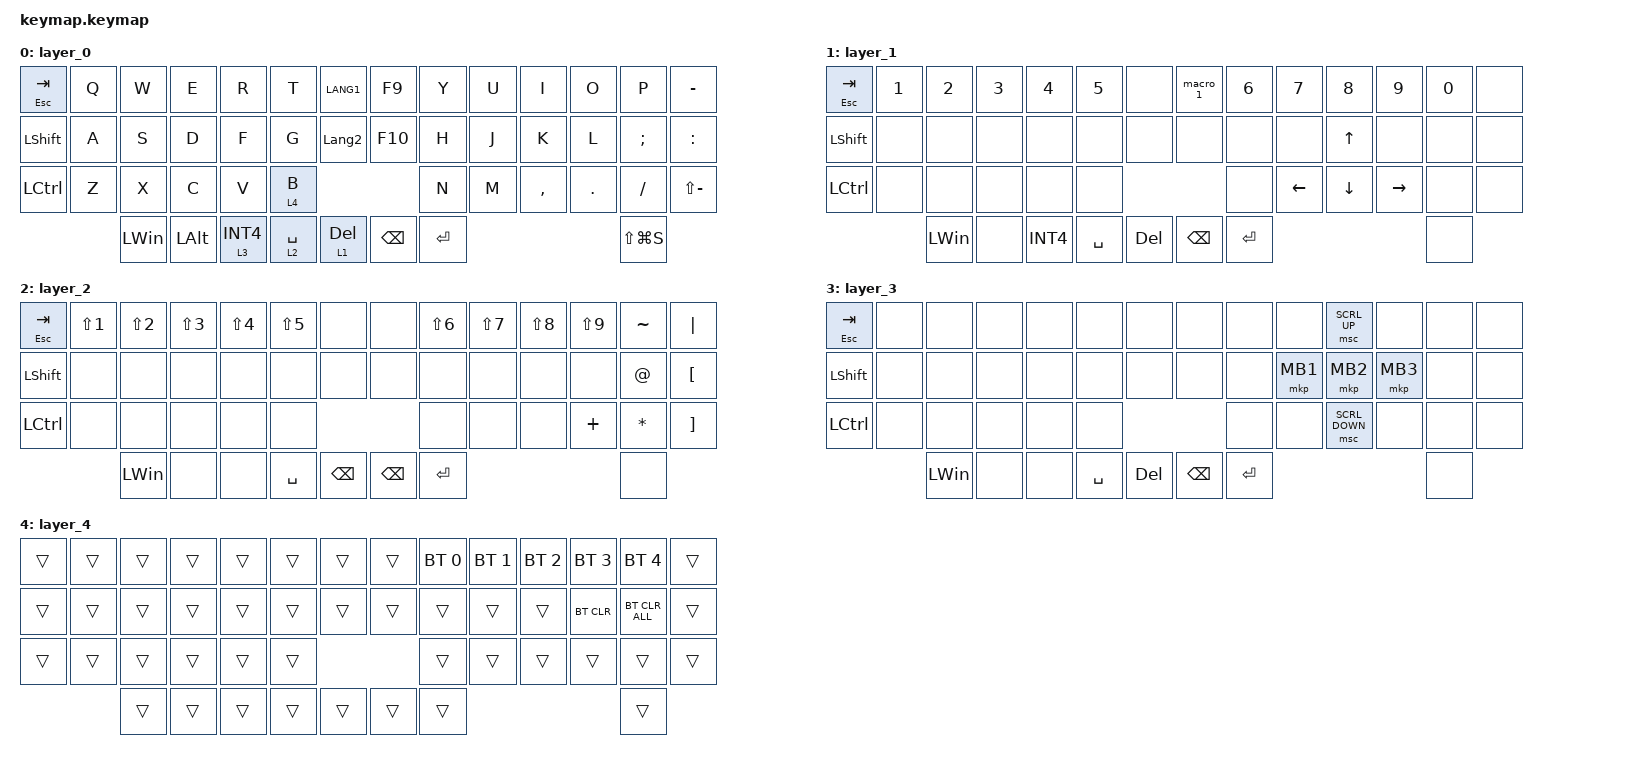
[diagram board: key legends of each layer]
#include <behaviors.dtsi>
#include <dt-bindings/zmk/bt.h>
#include <dt-bindings/zmk/keys.h>
#include <dt-bindings/zmk/pointing.h>

/ {
    macros {
        macro_1: macro_1 {
            compatible = "zmk,behavior-macro";
            #binding-cells = <0>;
            bindings = <&none &kp LS(S) &kp A &kp N &kp N5 &kp K &kp U &kp N4 &kp ASTERISK &kp S &kp H &kp I &kp N &kp LS(S) &kp E &kp N &kp N5 &kp M &kp I>;
            label = "MACRO_1";
        };
    };

    keymap {
        compatible = "zmk,keymap";

        layer_0 {
            bindings = <
&mt ESC TAB  &kp Q  &kp W     &kp E         &kp R       &kp T        &kp LANG1       &kp F9         &kp Y      &kp U  &kp I      &kp O       &kp P          &kp MINUS
&kp LSHIFT   &kp A  &kp S     &kp D         &kp F       &kp G        &kp LANGUAGE_2  &kp F10        &kp H      &kp J  &kp K      &kp L       &kp SEMICOLON  &kp COLON
&kp LCTRL    &kp Z  &kp X     &kp C         &kp V       &lt 4 B                                     &kp N      &kp M  &kp COMMA  &kp PERIOD  &kp SLASH      &kp LS(MINUS)
                    &kp LWIN  &kp LEFT_ALT  &lt 3 INT4  &lt 2 SPACE  &lt 1 DELETE    &kp BACKSPACE  &kp ENTER                                &kp LS(LG(S))
            >;
        };

        layer_1 {
            bindings = <
&mt ESC TAB  &kp NUMBER_1  &kp NUMBER_2  &kp NUMBER_3  &kp NUMBER_4  &kp N5     &none       &macro_1       &kp NUMBER_6  &kp N7          &kp N8          &kp N9           &kp N0  &none
&kp LSHIFT   &none         &none         &none         &none         &none      &none       &none          &none         &none           &kp UP          &none            &none   &none
&kp LCTRL    &none         &none         &none         &none         &none                                 &none         &kp LEFT_ARROW  &kp DOWN_ARROW  &kp RIGHT_ARROW  &none   &none
                           &kp LWIN      &none         &kp INT4      &kp SPACE  &kp DELETE  &kp BACKSPACE  &kp ENTER                                                      &none
            >;
        };

        layer_2 {
            bindings = <
&mt ESC TAB  &kp LS(N1)  &kp LS(N2)  &kp LS(N3)  &kp LS(N4)  &kp LS(N5)  &none          &none          &kp LS(N6)  &kp LS(N7)  &kp LS(N8)  &kp LS(N9)  &kp TILDE  &kp PIPE
&kp LSHIFT   &none       &none       &none       &none       &none       &none          &none          &none       &none       &none       &none       &kp AT     &kp LBKT
&kp LCTRL    &none       &none       &none       &none       &none                                     &none       &none       &none       &kp PLUS    &kp ASTRK  &kp RBKT
                         &kp LWIN    &none       &none       &kp SPACE   &kp BACKSPACE  &kp BACKSPACE  &kp ENTER                                       &none
            >;
        };

        layer_3 {
            bindings = <
&mt ESC TAB  &none  &none     &none  &none  &none      &none       &none          &none      &none     &msc SCRL_UP    &none     &none  &none
&kp LSHIFT   &none  &none     &none  &none  &none      &none       &none          &none      &mkp MB1  &mkp MB2        &mkp MB3  &none  &none
&kp LCTRL    &none  &none     &none  &none  &none                                 &none      &none     &msc SCRL_DOWN  &none     &none  &none
                    &kp LWIN  &none  &none  &kp SPACE  &kp DELETE  &kp BACKSPACE  &kp ENTER                                      &none
            >;
        };

        layer_4 {
            bindings = <
&trans  &trans  &trans  &trans  &trans  &trans  &trans  &trans  &bt BT_SEL 0  &bt BT_SEL 1  &bt BT_SEL 2  &bt BT_SEL 3  &bt BT_SEL 4    &trans
&trans  &trans  &trans  &trans  &trans  &trans  &trans  &trans  &trans        &trans        &trans        &bt BT_CLR    &bt BT_CLR_ALL  &trans
&trans  &trans  &trans  &trans  &trans  &trans                  &trans        &trans        &trans        &trans        &trans          &trans
                &trans  &trans  &trans  &trans  &trans  &trans  &trans                                                  &trans
            >;
        };
    };
};
